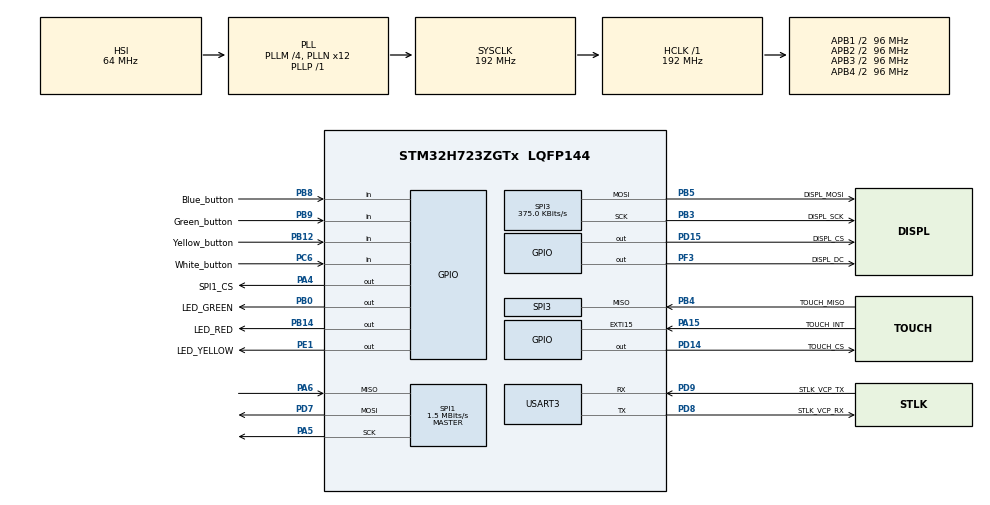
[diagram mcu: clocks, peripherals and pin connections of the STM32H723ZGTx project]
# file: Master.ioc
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Dma.Request0=SPI3_TX
Dma.SPI3_TX.0.Direction=DMA_MEMORY_TO_PERIPH
Dma.SPI3_TX.0.EventEnable=DISABLE
Dma.SPI3_TX.0.FIFOMode=DMA_FIFOMODE_DISABLE
Dma.SPI3_TX.0.Instance=DMA1_Stream0
Dma.SPI3_TX.0.MemDataAlignment=DMA_MDATAALIGN_BYTE
Dma.SPI3_TX.0.MemInc=DMA_MINC_ENABLE
Dma.SPI3_TX.0.Mode=DMA_NORMAL
Dma.SPI3_TX.0.PeriphDataAlignment=DMA_PDATAALIGN_BYTE
Dma.SPI3_TX.0.PeriphInc=DMA_PINC_DISABLE
Dma.SPI3_TX.0.Polarity=HAL_DMAMUX_REQ_GEN_RISING
Dma.SPI3_TX.0.Priority=DMA_PRIORITY_LOW
Dma.SPI3_TX.0.RequestNumber=1
Dma.SPI3_TX.0.SignalID=NONE
Dma.SPI3_TX.0.SyncEnable=DISABLE
Dma.SPI3_TX.0.SyncPolarity=HAL_DMAMUX_SYNC_NO_EVENT
Dma.SPI3_TX.0.SyncRequestNumber=1
Dma.SPI3_TX.0.SyncSignalID=NONE
Mcu.Family=STM32H7
Mcu.Name=STM32H723ZGTx
Mcu.Package=LQFP144
NVIC.DMA1_Stream0_IRQn=true\:0\:0\:false\:false\:true\:false\:true\:true
NVIC.EXTI15_10_IRQn=true\:0\:0\:false\:false\:true\:true\:true\:true
NVIC.PriorityGroup=NVIC_PRIORITYGROUP_4
NVIC.SPI1_IRQn=true\:0\:0\:false\:false\:true\:true\:true\:true
NVIC.SPI3_IRQn=true\:0\:0\:false\:false\:true\:true\:true\:true
NVIC.TIM6_DAC_IRQn=true\:15\:0\:false\:false\:true\:false\:true\:true
NVIC.TimeBase=TIM6_DAC_IRQn
NVIC.TimeBaseIP=TIM6
NVIC.USART3_IRQn=true\:0\:0\:false\:false\:true\:true\:true\:true
PA15(JTDI).GPIO_Label=TOUCH_INT
PA15(JTDI).GPIO_ModeDefaultEXTI=GPIO_MODE_IT_FALLING
PA15(JTDI).GPIO_PuPd=GPIO_PULLUP
PA15(JTDI).Signal=GPXTI15
PA4.GPIO_Label=SPI1_CS
PA4.GPIO_Speed=GPIO_SPEED_FREQ_VERY_HIGH
PA4.PinState=GPIO_PIN_SET
PA4.Signal=GPIO_Output
PA5.GPIO_Speed=GPIO_SPEED_FREQ_LOW
PA5.Mode=Full_Duplex_Master
PA5.Signal=SPI1_SCK
PA6.GPIO_Speed=GPIO_SPEED_FREQ_LOW
PA6.Mode=Full_Duplex_Master
PA6.Signal=SPI1_MISO
PB0.GPIO_Label=LED_GREEN
PB0.GPIO_Speed=GPIO_SPEED_FREQ_VERY_HIGH
PB0.Signal=GPIO_Output
PB12.GPIO_Label=Yellow_button
PB12.GPIO_PuPd=GPIO_PULLUP
PB12.Signal=GPIO_Input
PB14.GPIO_Label=LED_RED
PB14.GPIO_Speed=GPIO_SPEED_FREQ_VERY_HIGH
PB14.Signal=GPIO_Output
PB15.GPIO_Label=DISPL_LED
PB15.Signal=S_TIM12_CH2
PB3(JTDO/TRACESWO).GPIO_Label=DISPL_SCK
PB3(JTDO/TRACESWO).Mode=Full_Duplex_Master
PB3(JTDO/TRACESWO).Signal=SPI3_SCK
PB4(NJTRST).GPIO_Label=TOUCH_MISO
PB4(NJTRST).Mode=Full_Duplex_Master
PB4(NJTRST).Signal=SPI3_MISO
PB5.GPIO_Label=DISPL_MOSI
PB5.Mode=Full_Duplex_Master
PB5.Signal=SPI3_MOSI
PB8.GPIO_Label=Blue_button
PB8.GPIO_PuPd=GPIO_PULLUP
PB8.Signal=GPIO_Input
PB9.GPIO_Label=Green_button
PB9.GPIO_PuPd=GPIO_PULLUP
PB9.Signal=GPIO_Input
PC14-OSC32_IN.Mode=LSE-External-Oscillator
PC14-OSC32_IN.Signal=RCC_OSC32_IN
PC15-OSC32_OUT.Mode=LSE-External-Oscillator
PC15-OSC32_OUT.Signal=RCC_OSC32_OUT
PC6.GPIO_Label=White_button
PC6.GPIO_PuPd=GPIO_PULLUP
PC6.Signal=GPIO_Input
PD14.GPIO_Label=TOUCH_CS
PD14.GPIO_Speed=GPIO_SPEED_FREQ_VERY_HIGH
PD14.PinState=GPIO_PIN_SET
PD14.Signal=GPIO_Output
PD15.GPIO_Label=DISPL_CS
PD15.GPIO_Speed=GPIO_SPEED_FREQ_VERY_HIGH
PD15.PinState=GPIO_PIN_SET
PD15.Signal=GPIO_Output
PD7.GPIO_Speed=GPIO_SPEED_FREQ_LOW
PD7.Mode=Full_Duplex_Master
PD7.Signal=SPI1_MOSI
PD8.GPIO_Label=STLK_VCP_RX
PD8.Mode=Asynchronous
PD8.Signal=USART3_TX
PD9.GPIO_Label=STLK_VCP_TX
PD9.Mode=Asynchronous
PD9.Signal=USART3_RX
PE1.GPIO_Label=LED_YELLOW
PE1.GPIO_PuPd=GPIO_NOPULL
PE1.GPIO_Speed=GPIO_SPEED_FREQ_VERY_HIGH
PE1.Signal=GPIO_Output
PF3.GPIO_Label=DISPL_DC
PF3.GPIO_Speed=GPIO_SPEED_FREQ_VERY_HIGH
PF3.Signal=GPIO_Output
PH0-OSC_IN.Mode=HSE-External-Oscillator
PH0-OSC_IN.Signal=RCC_OSC_IN
PH1-OSC_OUT.Mode=HSE-External-Oscillator
PH1-OSC_OUT.Signal=RCC_OSC_OUT
ProjectManager.HeapSize=0x200
ProjectManager.StackSize=0x400
ProjectManager.TargetToolchain=STM32CubeIDE
RCC.ADCFreq_Value=608000000
RCC.APB1Freq_Value=96000000
RCC.APB2Freq_Value=96000000
RCC.APB3Freq_Value=96000000
RCC.APB4Freq_Value=96000000
RCC.CortexFreq_Value=192000000
RCC.D1PPRE=RCC_APB3_DIV2
RCC.D2PPRE1=RCC_APB1_DIV2
RCC.D2PPRE2=RCC_APB2_DIV2
RCC.D3PPRE=RCC_APB4_DIV2
RCC.DIVM1=4
RCC.DIVM2=1
RCC.DIVN1=12
RCC.DIVN2=19
RCC.DIVP1=1
RCC.DIVQ1=4
RCC.HCLKFreq_Value=192000000
RCC.HSE_VALUE=8000000
RCC.PLL2FRACN=0
RCC.PLL3FRACN=0
RCC.PLLFRACN=0
RCC.SYSCLKFreq_VALUE=192000000
RCC.SYSCLKSource=RCC_SYSCLKSOURCE_PLLCLK
RCC.USBCLockSelection=RCC_USBCLKSOURCE_HSI48
RCC.USBFreq_Value=48000000
SH.S_TIM12_CH2.0=TIM12_CH2
SPI1.BaudRatePrescaler=SPI_BAUDRATEPRESCALER_32
SPI1.CLKPhase=SPI_PHASE_2EDGE
SPI1.CLKPolarity=SPI_POLARITY_HIGH
SPI1.CalculateBaudRate=1.5 MBits/s
SPI1.DataSize=SPI_DATASIZE_8BIT
SPI1.Direction=SPI_DIRECTION_2LINES
SPI1.Mode=SPI_MODE_MASTER
SPI1.VirtualType=VM_MASTER
SPI3.BaudRatePrescaler=SPI_BAUDRATEPRESCALER_128
SPI3.CalculateBaudRate=375.0 KBits/s
SPI3.DataSize=SPI_DATASIZE_8BIT
SPI3.Direction=SPI_DIRECTION_2LINES
SPI3.Mode=SPI_MODE_MASTER
SPI3.VirtualType=VM_MASTER
USART3.VirtualMode-Asynchronous=VM_ASYNC
VP_MEMORYMAP_VS_MEMORYMAP.Mode=CurAppReg
VP_SYS_VS_tim6.Mode=TIM6
board=NUCLEO-H723ZG

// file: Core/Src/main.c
/* USER CODE BEGIN Header */
/**
 ******************************************************************************
 * @file           : main.c
 * @brief          : Main program body
 ******************************************************************************
 * @attention
 *
 * Copyright (c) 2025 STMicroelectronics.
 * All rights reserved.
 *
 * This software is licensed under terms that can be found in the LICENSE file
 * in the root directory of this software component.
 * If no LICENSE file comes with this software, it is provided AS-IS.
 *
 ******************************************************************************
 */
/* USER CODE END Header */
#include "main.h"
#include "dma.h"
#include "memorymap.h"
#include "spi.h"
#include "usart.h"
#include "gpio.h"

/* USER CODE BEGIN Includes */
#include "string.h"
#include "stdio.h"
#include "stdbool.h"
#include <stdarg.h>
#include "mt6835.h"
#include <math.h>
/* USER CODE END Includes */

void SystemClock_Config(void);
/* USER CODE BEGIN PFP */
extern mt6835_t* mt6835_stm32_spi_port_init(void);

/* USER CODE END PFP */

/* USER CODE BEGIN 0 */
int _write(int file, char *ptr, int len) {
	// ส�?�?�?�?อมูลที�?�?ด�?�?า�? ptr �?�?า�? UART3
	if (HAL_UART_Transmit(&huart3, (uint8_t*) ptr, len, HAL_MAX_DELAY)
			!= HAL_OK) {
		return -1; // ถ�?า�?ารส�?�?�?�?อมูลล�?มเหลว �?ห�?ส�?�?�?ื�? -1 เ�?ื�?อ�?�?�?�?อ�?�?�?อ�?ิด�?ลาด
	}
	return len;  // ส�?�?�?ื�?�?ำ�?ว�? byte ที�?ส�?�?�?ด�?
}
uint8_t id;
uint32_t raw_angle = 0;
float radian_angle = 0.0f;
/* USER CODE END 0 */

int main(void)
{

  /* MCU Configuration--------------------------------------------------------*/

  /* Reset of all peripherals, Initializes the Flash interface and the Systick. */
  HAL_Init();

  /* Configure the system clock */
  SystemClock_Config();

  /* Initialize all configured peripherals */
  MX_GPIO_Init();
  MX_DMA_Init();
  MX_SPI3_Init();
  MX_USART3_UART_Init();
  MX_SPI1_Init();
  /* USER CODE BEGIN 2 */

	mt6835_t *mt6835 = mt6835_stm32_spi_port_init();
    //mt6835_enable_crc_check(mt6835);
	mt6835_disable_crc_check(mt6835);
  /* USER CODE END 2 */

  /* Infinite loop */
  /* USER CODE BEGIN WHILE */
	while (1) {
        raw_angle = mt6835_get_raw_angle(mt6835, MT6835_READ_ANGLE_METHOD_NORMAL);
        radian_angle = (raw_angle / 2097152.0f) * (M_PI * 2.0f);
        printf("raw_angle: %lu, radian_angle: %f\n\r", raw_angle, radian_angle);
//id = mt6835_get_id(mt6835);
//		printf("id : 0x%x\n",id);
		HAL_Delay(250);

    /* USER CODE END WHILE */

	}
}

void SystemClock_Config(void)
{
  RCC_OscInitTypeDef RCC_OscInitStruct = {0};
  RCC_ClkInitTypeDef RCC_ClkInitStruct = {0};

  /** Supply configuration update enable
  */
  HAL_PWREx_ConfigSupply(PWR_LDO_SUPPLY);

  /** Configure the main internal regulator output voltage
  */
  __HAL_PWR_VOLTAGESCALING_CONFIG(PWR_REGULATOR_VOLTAGE_SCALE1);

  while(!__HAL_PWR_GET_FLAG(PWR_FLAG_VOSRDY)) {}

  /** Initializes the RCC Oscillators according to the specified parameters
  * in the RCC_OscInitTypeDef structure.
  */
  RCC_OscInitStruct.OscillatorType = RCC_OSCILLATORTYPE_HSI;
  RCC_OscInitStruct.HSIState = RCC_HSI_DIV1;
  RCC_OscInitStruct.HSICalibrationValue = 64;
  RCC_OscInitStruct.PLL.PLLState = RCC_PLL_ON;
  RCC_OscInitStruct.PLL.PLLSource = RCC_PLLSOURCE_HSI;
  RCC_OscInitStruct.PLL.PLLM = 4;
  RCC_OscInitStruct.PLL.PLLN = 12;
  RCC_OscInitStruct.PLL.PLLP = 1;
  RCC_OscInitStruct.PLL.PLLQ = 4;
  RCC_OscInitStruct.PLL.PLLR = 2;
  RCC_OscInitStruct.PLL.PLLRGE = RCC_PLL1VCIRANGE_3;
  RCC_OscInitStruct.PLL.PLLVCOSEL = RCC_PLL1VCOWIDE;
  RCC_OscInitStruct.PLL.PLLFRACN = 0;
  if (HAL_RCC_OscConfig(&RCC_OscInitStruct) != HAL_OK)
  {
    Error_Handler();
  }

  /** Initializes the CPU, AHB and APB buses clocks
  */
  RCC_ClkInitStruct.ClockType = RCC_CLOCKTYPE_HCLK|RCC_CLOCKTYPE_SYSCLK
                              |RCC_CLOCKTYPE_PCLK1|RCC_CLOCKTYPE_PCLK2
                              |RCC_CLOCKTYPE_D3PCLK1|RCC_CLOCKTYPE_D1PCLK1;
  RCC_ClkInitStruct.SYSCLKSource = RCC_SYSCLKSOURCE_PLLCLK;
  RCC_ClkInitStruct.SYSCLKDivider = RCC_SYSCLK_DIV1;
  RCC_ClkInitStruct.AHBCLKDivider = RCC_HCLK_DIV1;
  RCC_ClkInitStruct.APB3CLKDivider = RCC_APB3_DIV2;
  RCC_ClkInitStruct.APB1CLKDivider = RCC_APB1_DIV2;
  RCC_ClkInitStruct.APB2CLKDivider = RCC_APB2_DIV2;
  RCC_ClkInitStruct.APB4CLKDivider = RCC_APB4_DIV2;

  if (HAL_RCC_ClockConfig(&RCC_ClkInitStruct, FLASH_LATENCY_2) != HAL_OK)
  {
    Error_Handler();
  }
}

void HAL_TIM_PeriodElapsedCallback(TIM_HandleTypeDef *htim)
{
  if (htim->Instance == TIM6) {
    HAL_IncTick();
  }
}

void Error_Handler(void)
{
	__disable_irq();
	while (1) {
	}
}
